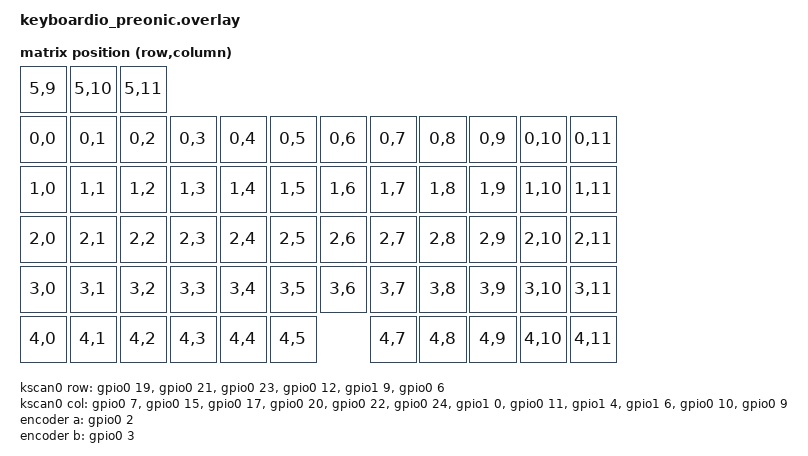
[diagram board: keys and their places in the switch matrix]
/*
 * Copyright (c) 2021 The ZMK Contributors
 *
 * SPDX-License-Identifier: MIT
 */

#include <dt-bindings/zmk/matrix_transform.h>

/ {
    chosen {
        zmk,kscan = &kscan0;
        zmk,matrix_transform = &mit_layout;
    };

    // MIT 레이아웃 (2U 스페이스바)
    mit_layout: matrix_transform_mit {
        compatible = "zmk,matrix-transform";
        columns = <12>;
        rows = <6>;
        map = <
            RC(5,9) RC(5,10) RC(5,11)
            RC(0,0) RC(0,1) RC(0,2) RC(0,3) RC(0,4) RC(0,5) RC(0,6) RC(0,7) RC(0,8) RC(0,9) RC(0,10) RC(0,11)
            RC(1,0) RC(1,1) RC(1,2) RC(1,3) RC(1,4) RC(1,5) RC(1,6) RC(1,7) RC(1,8) RC(1,9) RC(1,10) RC(1,11)
            RC(2,0) RC(2,1) RC(2,2) RC(2,3) RC(2,4) RC(2,5) RC(2,6) RC(2,7) RC(2,8) RC(2,9) RC(2,10) RC(2,11)
            RC(3,0) RC(3,1) RC(3,2) RC(3,3) RC(3,4) RC(3,5) RC(3,6) RC(3,7) RC(3,8) RC(3,9) RC(3,10) RC(3,11)
            RC(4,0) RC(4,1) RC(4,2) RC(4,3) RC(4,4)     RC(4,5)     RC(4,7) RC(4,8) RC(4,9) RC(4,10) RC(4,11)
        >;
    };

    kscan0: kscan {
        compatible = "zmk,kscan-gpio-matrix";
        label = "KSCAN";

        diode-direction = "col2row";
        row-gpios
            = <&gpio0 19 (GPIO_ACTIVE_HIGH | GPIO_PULL_DOWN)>
            , <&gpio0 21 (GPIO_ACTIVE_HIGH | GPIO_PULL_DOWN)>
            , <&gpio0 23 (GPIO_ACTIVE_HIGH | GPIO_PULL_DOWN)>
            , <&gpio0 12 (GPIO_ACTIVE_HIGH | GPIO_PULL_DOWN)>
            , <&gpio1 9  (GPIO_ACTIVE_HIGH | GPIO_PULL_DOWN)>
            , <&gpio0 6  (GPIO_ACTIVE_HIGH | GPIO_PULL_DOWN)> // 6번째 행 전용 핀 (충돌 방지)
            ;

        col-gpios
            = <&gpio0 7  GPIO_ACTIVE_HIGH>
            , <&gpio0 15 GPIO_ACTIVE_HIGH>
            , <&gpio0 17 GPIO_ACTIVE_HIGH>
            , <&gpio0 20 GPIO_ACTIVE_HIGH>
            , <&gpio0 22 GPIO_ACTIVE_HIGH>
            , <&gpio0 24 GPIO_ACTIVE_HIGH>
            , <&gpio1 0  GPIO_ACTIVE_HIGH>
            , <&gpio0 11 GPIO_ACTIVE_HIGH>
            , <&gpio1 4  GPIO_ACTIVE_HIGH>
            , <&gpio1 6  GPIO_ACTIVE_HIGH>
            , <&gpio0 10 GPIO_ACTIVE_HIGH>
            , <&gpio0 9  GPIO_ACTIVE_HIGH>
            ;
    };

    encoder: encoder {
        compatible = "alps,ec11";
        label = "ENCODER";
        a-gpios = <&gpio0 2 (GPIO_ACTIVE_HIGH | GPIO_PULL_UP)>;
        b-gpios = <&gpio0 3 (GPIO_ACTIVE_HIGH | GPIO_PULL_UP)>;
        steps = <80>;
        status = "okay";
    };

    sensors {
        compatible = "zmk,keymap-sensors";
        sensors = <&encoder>;
        triggers-per-rotation = <20>;
    };
};
